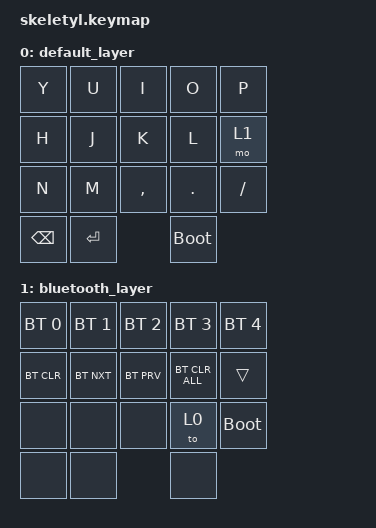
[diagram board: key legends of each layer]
#include <behaviors.dtsi>
#include <dt-bindings/zmk/keys.h>
#include <dt-bindings/zmk/bt.h>

/ {
    keymap {
        compatible = "zmk,keymap";

        default_layer {
            bindings = <
                &kp Y &kp U &kp I &kp O &kp P
                &kp H &kp J &kp K &kp L &mo 1
                &kp N &kp M &kp COMMA &kp DOT &kp SLASH
                &kp BSPC &kp ENTER &bootloader 
            >;
        };

        bluetooth_layer {
            bindings = <
                &bt BT_SEL 0 &bt BT_SEL 1 &bt BT_SEL 2 &bt BT_SEL 3 &bt BT_SEL 4
                &bt BT_CLR &bt BT_NXT &bt BT_PRV &bt BT_CLR_ALL &trans
                &none &none &none &to 0 &bootloader
                &none &none &none
            >;
        };
    };
};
